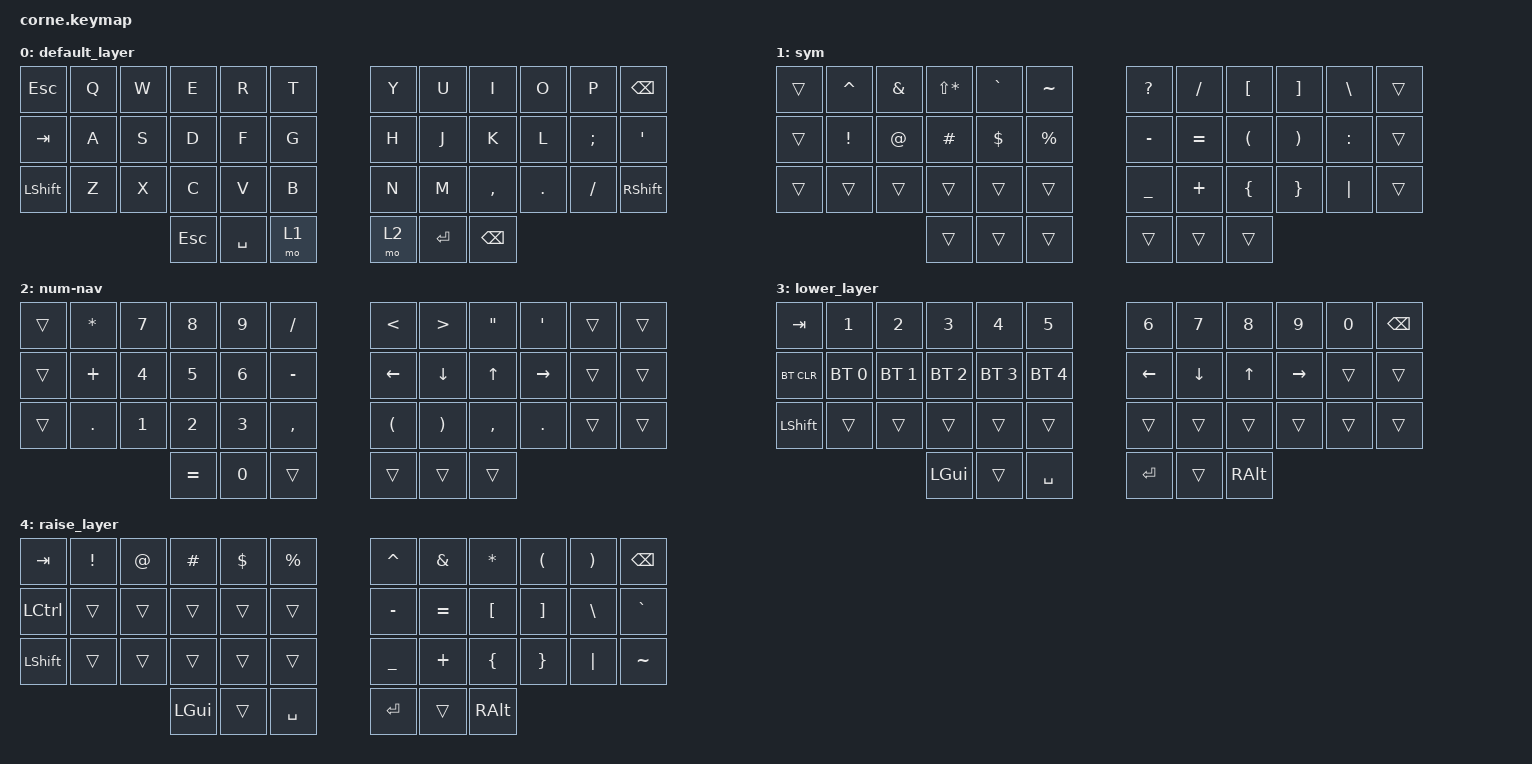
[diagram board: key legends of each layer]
/*
 * Copyright (c) 2020 The ZMK Contributors
 *
 * SPDX-License-Identifier: MIT
 */

#include <behaviors.dtsi>
#include <dt-bindings/zmk/bt.h>
#include <dt-bindings/zmk/keys.h>

/ {
    combos {
        compatible = "zmk,combos";

        hrmLshift {
            bindings = <&kp LEFT_SHIFT>;
            key-positions = <16 37>;
        };

        hrmRshift {
            bindings = <&kp RIGHT_SHIFT>;
            key-positions = <19 40>;
        };

        hrmLalt {
            bindings = <&kp LEFT_ALT>;
            key-positions = <15 37>;
        };

        hrmRalt {
            bindings = <&kp RIGHT_ALT>;
            key-positions = <20 40>;
        };

        hrmLctrl {
            bindings = <&kp LEFT_CONTROL>;
            key-positions = <14 37>;
        };

        hrmRctrl {
            bindings = <&kp RIGHT_CONTROL>;
            key-positions = <21 40>;
        };

        hrmLgui {
            bindings = <&kp LEFT_GUI>;
            key-positions = <13 37>;
        };

        hrmRgui {
            bindings = <&kp RIGHT_GUI>;
            key-positions = <22 40>;
        };

        hrmlshiftgui {
            bindings = <&kp LG(LEFT_SHIFT)>;
            key-positions = <13 16 37>;
        };

        hrmrshiftgui {
            bindings = <&kp RG(RIGHT_SHIFT)>;
            key-positions = <19 22 40>;
        };

        hrmLshiftctrl {
            bindings = <&kp LC(LEFT_SHIFT)>;
            key-positions = <14 16 37>;
        };

        hrmRshiftctrl {
            bindings = <&kp RC(RIGHT_SHIFT)>;
            key-positions = <19 21 40>;
        };

        hrmLshiftalt {
            bindings = <&kp LA(LEFT_SHIFT)>;
            key-positions = <15 16 37>;
        };

        hrmRshiftalt {
            bindings = <&kp RA(RIGHT_SHIFT)>;
            key-positions = <19 20 40>;
        };

        hrmLshiftguictrl {
            bindings = <&kp LC(LG(LEFT_SHIFT))>;
            key-positions = <13 14 16 37>;
        };

        hrmRshiftguictrl {
            bindings = <&kp RC(RG(RIGHT_SHIFT))>;
            key-positions = <19 21 22 40>;
        };

        hrmLshiftaltctrl {
            bindings = <&kp LA(LC(LEFT_SHIFT))>;
            key-positions = <14 15 16 37>;
        };

        hrmRshiftaltctrl {
            bindings = <&kp RA(RC(RIGHT_SHIFT))>;
            key-positions = <19 20 21 40>;
        };

        hrmLall {
            bindings = <&kp LG(LA(LC(LEFT_SHIFT)))>;
            key-positions = <13 14 15 16 37>;
        };

        hrmRall {
            bindings = <&kp RG(RA(RC(RIGHT_SHIFT)))>;
            key-positions = <19 20 21 22 40>;
        };
    };

    keymap {
        compatible = "zmk,keymap";

        default_layer {
            // -----------------------------------------------------------------------------------------
            // |  TAB |  Q  |  W  |  E  |  R  |  T  |   |  Y  |  U   |  I  |  O  |  P  | BSPC |
            // | CTRL |  A  |  S  |  D  |  F  |  G  |   |  H  |  J   |  K  |  L  |  ;  |  '   |
            // | SHFT |  Z  |  X  |  C  |  V  |  B  |   |  N  |  M   |  ,  |  .  |  /  | ESC  |
            //                    | GUI | LWR | SPC |   | ENT | RSE  | ALT |

            bindings = <
&kp ESC    &kp Q  &kp W  &kp E       &kp R      &kp T    &kp Y  &kp U      &kp I          &kp O    &kp P     &kp BSPC
&kp TAB    &kp A  &kp S  &kp D       &kp F      &kp G    &kp H  &kp J      &kp K          &kp L    &kp SEMI  &kp SQT
&kp LSHFT  &kp Z  &kp X  &kp C       &kp V      &kp B    &kp N  &kp M      &kp COMMA      &kp DOT  &kp FSLH  &kp RIGHT_SHIFT
                         &kp ESCAPE  &kp SPACE  &mo 1    &mo 2  &kp ENTER  &kp BACKSPACE
            >;
        };

        sym {
            bindings = <
&trans  &kp CARET        &kp AMPERSAND  &kp LS(ASTERISK)  &kp GRAVE   &kp TILDE      &kp QUESTION    &kp SLASH  &kp LEFT_BRACKET      &kp RIGHT_BRACKET      &kp BACKSLASH  &trans
&trans  &kp EXCLAMATION  &kp AT         &kp HASH          &kp DOLLAR  &kp PERCENT    &kp MINUS       &kp EQUAL  &kp LEFT_PARENTHESIS  &kp RIGHT_PARENTHESIS  &kp COLON      &trans
&trans  &trans           &trans         &trans            &trans      &trans         &kp UNDERSCORE  &kp PLUS   &kp LEFT_BRACE        &kp RIGHT_BRACE        &kp PIPE       &trans
                                        &trans            &trans      &trans         &trans          &trans     &trans
            >;
        };

        num-nav {
            bindings = <
&trans  &kp ASTERISK  &kp N7  &kp N8     &kp N9  &kp SLASH    &kp LESS_THAN         &kp GREATER_THAN       &kp DOUBLE_QUOTES  &kp SQT     &trans  &trans
&trans  &kp PLUS      &kp N4  &kp N5     &kp N6  &kp MINUS    &kp LEFT              &kp DOWN               &kp UP             &kp RIGHT   &trans  &trans
&trans  &kp PERIOD    &kp N1  &kp N2     &kp N3  &kp COMMA    &kp LEFT_PARENTHESIS  &kp RIGHT_PARENTHESIS  &kp COMMA          &kp PERIOD  &trans  &trans
                              &kp EQUAL  &kp N0  &trans       &trans                &trans                 &trans
            >;
        };

        lower_layer {
            // -----------------------------------------------------------------------------------------
            // |  TAB |  1  |  2  |  3  |  4  |  5  |   |  6  |  7  |  8  |  9  |  0  | BSPC |
            // | BTCLR| BT1 | BT2 | BT3 | BT4 | BT5 |   | LFT | DWN |  UP | RGT |     |      |
            // | SHFT |     |     |     |     |     |   |     |     |     |     |     |      |
            //                    | GUI |     | SPC |   | ENT |     | ALT |

            bindings = <
&kp TAB     &kp N1        &kp N2        &kp N3        &kp N4        &kp N5          &kp N6    &kp N7    &kp N8    &kp N9     &kp N0  &kp BSPC
&bt BT_CLR  &bt BT_SEL 0  &bt BT_SEL 1  &bt BT_SEL 2  &bt BT_SEL 3  &bt BT_SEL 4    &kp LEFT  &kp DOWN  &kp UP    &kp RIGHT  &trans  &trans
&kp LSHFT   &trans        &trans        &trans        &trans        &trans          &trans    &trans    &trans    &trans     &trans  &trans
                                        &kp LGUI      &trans        &kp SPACE       &kp RET   &trans    &kp RALT
            >;
        };

        raise_layer {
            // -----------------------------------------------------------------------------------------
            // |  TAB |  !  |  @  |  #  |  $  |  %  |   |  ^  |  &  |  *  |  (  |  )  | BSPC |
            // | CTRL |     |     |     |     |     |   |  -  |  =  |  [  |  ]  |  \  |  `   |
            // | SHFT |     |     |     |     |     |   |  _  |  +  |  {  |  }  | "|" |  ~   |
            //                    | GUI |     | SPC |   | ENT |     | ALT |

            bindings = <
&kp TAB    &kp EXCL  &kp AT  &kp HASH  &kp DLLR  &kp PRCNT    &kp CARET  &kp AMPS   &kp ASTRK  &kp LPAR  &kp RPAR  &kp BSPC
&kp LCTRL  &trans    &trans  &trans    &trans    &trans       &kp MINUS  &kp EQUAL  &kp LBKT   &kp RBKT  &kp BSLH  &kp GRAVE
&kp LSHFT  &trans    &trans  &trans    &trans    &trans       &kp UNDER  &kp PLUS   &kp LBRC   &kp RBRC  &kp PIPE  &kp TILDE
                             &kp LGUI  &trans    &kp SPACE    &kp RET    &trans     &kp RALT
            >;
        };
    };
};
